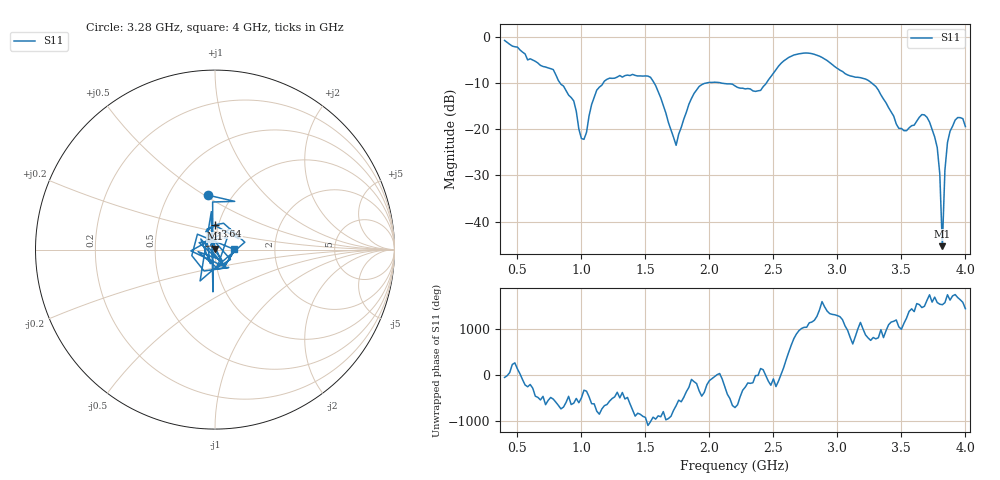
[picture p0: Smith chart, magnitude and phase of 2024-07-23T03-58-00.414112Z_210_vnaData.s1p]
!Created with skrf (http://scikit-rf.org).
# Hz S RI R 50.0
!freq ReS11 ImS11
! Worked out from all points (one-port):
!   181 points, 400 MHz to 4 GHz, reference 50 ohm
!   lowest |S11| = -45.3 dB at 3.82 GHz (marker M1), VSWR 1.01, Z = 50 + j0.542 ohm
!   |S11| at or under -10 dB: 1.569 GHz to 1.975 GHz (406.4 MHz wide, 22.9 % of centre); 2.093 GHz to 2.445 GHz (351.8 MHz wide, 15.5 % of centre); 3.268 GHz to end of sweep (the widest 3 of 4)
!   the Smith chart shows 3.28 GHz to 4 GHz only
!   S11 on the Smith chart (normalised r, x): 3.28 GHz: 0.77, +0.52; 3.64 GHz: 0.96, +0.26; 4 GHz: 1.24, +0.00
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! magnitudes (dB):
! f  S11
! 400 MHz  -0.8
! 780 MHz  -7.1
! 860 MHz  -10.7
! 940 MHz  -13.9
! 980 MHz  -20.0
! 1.02 GHz  -22.2
! 1.12 GHz  -11.5
! 1.3 GHz  -8.4
! 1.54 GHz  -8.8
! 1.74 GHz  -23.5
! 1.76 GHz  -21.1
! 1.92 GHz  -10.7
! 2.2 GHz  -10.6
! 2.4 GHz  -11.6
! 2.66 GHz  -3.9
! 3.1 GHz  -8.5
! 3.28 GHz  -10.3
! 3.48 GHz  -19.8
! 3.56 GHz  -19.7
! 3.64 GHz  -17.4
! 3.7 GHz  -17.4
! 3.78 GHz  -24.0
! 3.8 GHz  -29.7
! 3.82 GHz  -45.3
! 3.84 GHz  -28.9
! 3.86 GHz  -22.9
! 3.94 GHz  -17.5
! 4 GHz  -19.4
